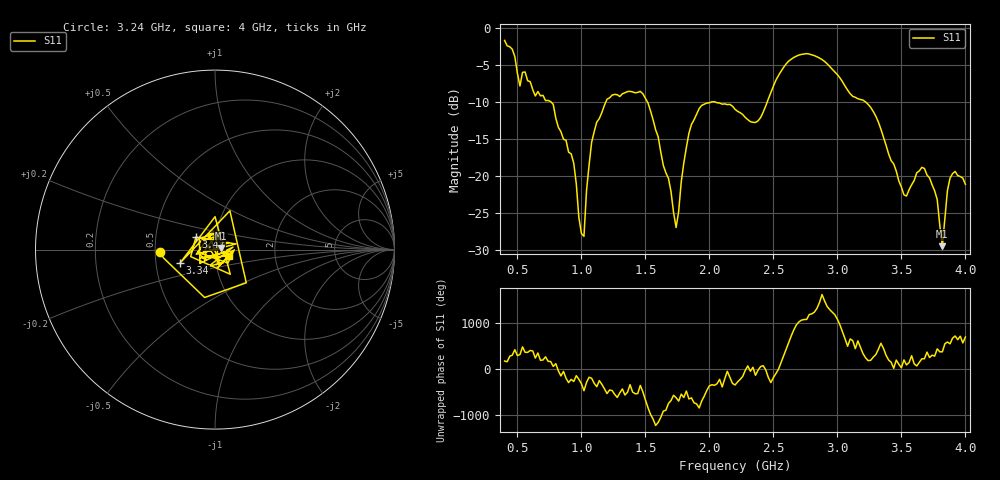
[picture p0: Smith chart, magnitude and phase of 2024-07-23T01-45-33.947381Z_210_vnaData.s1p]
!Created with skrf (http://scikit-rf.org).
# Hz S RI R 50.0
!freq ReS11 ImS11
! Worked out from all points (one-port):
!   181 points, 400 MHz to 4 GHz, reference 50 ohm
!   lowest |S11| = -29.5 dB at 3.82 GHz (marker M1), VSWR 1.07, Z = 53.3 + j0.899 ohm
!   |S11| at or under -10 dB: 763.4 MHz to 1.191 GHz (427.1 MHz wide, 43.7 % of centre); 1.516 GHz to 2.014 GHz (497.7 MHz wide, 28.2 % of centre); 3.221 GHz to end of sweep (the widest 3 of 4)
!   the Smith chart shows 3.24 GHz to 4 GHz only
!   S11 on the Smith chart (normalised r, x): 3.24 GHz: 0.53, -0.02; 3.34 GHz: 0.67, -0.10; 3.42 GHz: 0.80, +0.11; 4 GHz: 1.17, -0.08
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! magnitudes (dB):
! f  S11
! 400 MHz  -1.7
! 520 MHz  -7.8
! 780 MHz  -10.3
! 860 MHz  -15.0
! 940 MHz  -18.3
! 980 MHz  -25.6
! 1.02 GHz  -28.2
! 1.04 GHz  -22.0
! 1.1 GHz  -14.0
! 1.3 GHz  -9.2
! 1.52 GHz  -10.1
! 1.74 GHz  -27.0
! 1.76 GHz  -24.8
! 1.84 GHz  -14.2
! 1.92 GHz  -10.9
! 2.2 GHz  -11.0
! 2.38 GHz  -12.5
! 2.66 GHz  -4.0
! 3.1 GHz  -8.9
! 3.24 GHz  -10.3
! 3.34 GHz  -13.7
! 3.42 GHz  -17.9
! 3.56 GHz  -21.9
! 3.68 GHz  -19.0
! 3.78 GHz  -23.2
! 3.82 GHz  -29.5
! 3.88 GHz  -20.3
! 4 GHz  -21.1
